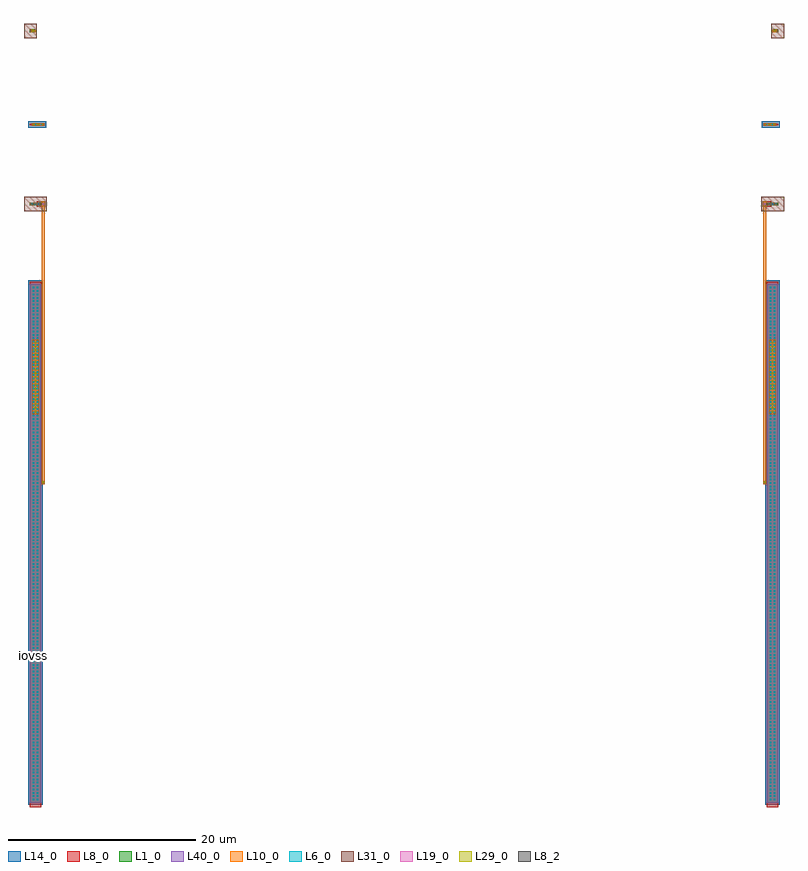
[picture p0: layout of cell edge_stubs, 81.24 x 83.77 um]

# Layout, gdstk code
import gdstk
lib = gdstk.Library(unit=1e-6, precision=1e-09)
def R(c, l, rs):  # rectangles x0, y0, x1, y1
    for r in rs: c.add(gdstk.rectangle(r[:2], r[2:], *l))
def A(c, l, x, y, w, h, nx, ny, dx, dy):  # array of equal rectangles
    R(c, l, [(x+i*dx, y+j*dy, x+i*dx+w, y+j*dy+h) for i in range(nx) for j in range(ny)])
L1_0 = (1, 0)
L6_0 = (6, 0)
L8_0 = (8, 0)
L8_2 = (8, 2)
L10_0 = (10, 0)
L14_0 = (14, 0)
L19_0 = (19, 0)
L29_0 = (29, 0)
L31_0 = (31, 0)
L40_0 = (40, 0)

edge_stubs = lib.new_cell('edge_stubs')
R(edge_stubs, L1_0, [(0,84.51,1.2,139.92), (78.8,84.51,80,139.92), (0,148.35,1.2,148.65), (78.8,148.35,80,148.65), (0.25,156.85,1.6,157.15), (78.4,156.85,79.75,157.15), (0,166.85,0.51,167.15), (79.49,166.85,80,167.15)])
A(edge_stubs, L6_0, 0.32, 84.75, 0.16, 0.16, 1, 153, 0, 0.36)
A(edge_stubs, L6_0, 0.72, 84.75, 0.16, 0.16, 1, 153, 0, 0.36)
A(edge_stubs, L6_0, 79.12, 84.75, 0.16, 0.16, 1, 153, 0, 0.36)
A(edge_stubs, L6_0, 79.52, 84.75, 0.16, 0.16, 1, 153, 0, 0.36)
A(edge_stubs, L6_0, 0.17, 148.42, 0.16, 0.16, 3, 1, 0.34, 0)
A(edge_stubs, L6_0, 78.99, 148.42, 0.16, 0.16, 3, 1, 0.34, 0)
A(edge_stubs, L6_0, 0.51, 156.92, 0.16, 0.16, 3, 1, 0.34, 0)
A(edge_stubs, L6_0, 78.65, 156.92, 0.16, 0.16, 3, 1, 0.34, 0)
R(edge_stubs, L6_0, [(0.25,166.92,0.41,167.08), (79.59,166.92,79.75,167.08)])
R(edge_stubs, L8_0, [(0,84,1.2,140.17), (78.8,84,80,140.17), (0.75,148.2,1.65,148.8), (78.35,148.2,79.25,148.8), (0,148.42,1.2,148.58), (78.8,148.42,80,148.58), (0.21,156.855,1.6,157.145), (78.4,156.855,79.79,157.145), (0,156.92,0.21,157.08), (79.79,156.92,80,157.08), (0.21,166.855,0.51,167.145), (79.49,166.855,79.79,167.145), (0,166.92,0.21,167.08), (79.79,166.92,80,167.08)])
R(edge_stubs, L8_2, [(0.1,100,0.6,100.5)])
R(edge_stubs, L10_0, [(1.3,118.55,1.6,148.8), (78.4,118.55,78.7,148.8), (0.25,126,0.95,134), (79.05,126,79.75,134), (0.25,156.855,1.55,157.145), (78.45,156.855,79.75,157.145), (0.1,166.855,0.7,167.145), (79.3,166.855,79.9,167.145)])
R(edge_stubs, L14_0, [(-0.18,84.26,1.38,140.35), (78.62,84.26,80.18,140.35), (-0.18,156.67,1.78,157.33), (78.22,156.67,80.18,157.33)])
A(edge_stubs, L19_0, 0.505, 126.205, 0.19, 0.19, 1, 19, 0, 0.41)
A(edge_stubs, L19_0, 79.305, 126.205, 0.19, 0.19, 1, 19, 0, 0.41)
A(edge_stubs, L19_0, 0.355, 156.905, 0.19, 0.19, 3, 1, 0.45, 0)
A(edge_stubs, L19_0, 78.555, 156.905, 0.19, 0.19, 3, 1, 0.45, 0)
R(edge_stubs, L19_0, [(1.355,148.405,1.545,148.595), (78.455,148.405,78.645,148.595), (0.265,166.905,0.455,167.095), (79.545,166.905,79.735,167.095)])
A(edge_stubs, L29_0, 0.505, 126.205, 0.19, 0.19, 1, 19, 0, 0.41)
A(edge_stubs, L29_0, 79.305, 126.205, 0.19, 0.19, 1, 19, 0, 0.41)
A(edge_stubs, L29_0, 0.355, 156.905, 0.19, 0.19, 3, 1, 0.45, 0)
A(edge_stubs, L29_0, 78.555, 156.905, 0.19, 0.19, 3, 1, 0.45, 0)
R(edge_stubs, L29_0, [(1.355,118.655,1.545,118.845), (78.455,118.655,78.645,118.845), (0.265,166.905,0.455,167.095), (79.545,166.905,79.735,167.095)])
R(edge_stubs, L31_0, [(-0.62,147.73,1.8,149.27), (78.2,147.73,80.62,149.27), (-0.62,166.23,0.75,167.77), (79.25,166.23,80.62,167.77)])
R(edge_stubs, L40_0, [(0,84.51,1.2,139.92), (78.8,84.51,80,139.92), (0.25,156.85,1.6,157.15), (78.4,156.85,79.75,157.15)])
edge_stubs.add(gdstk.Label('iovss', (0.35,100.25), layer=8, texttype=25))

lib.write_gds('edge_stubs.gds')
